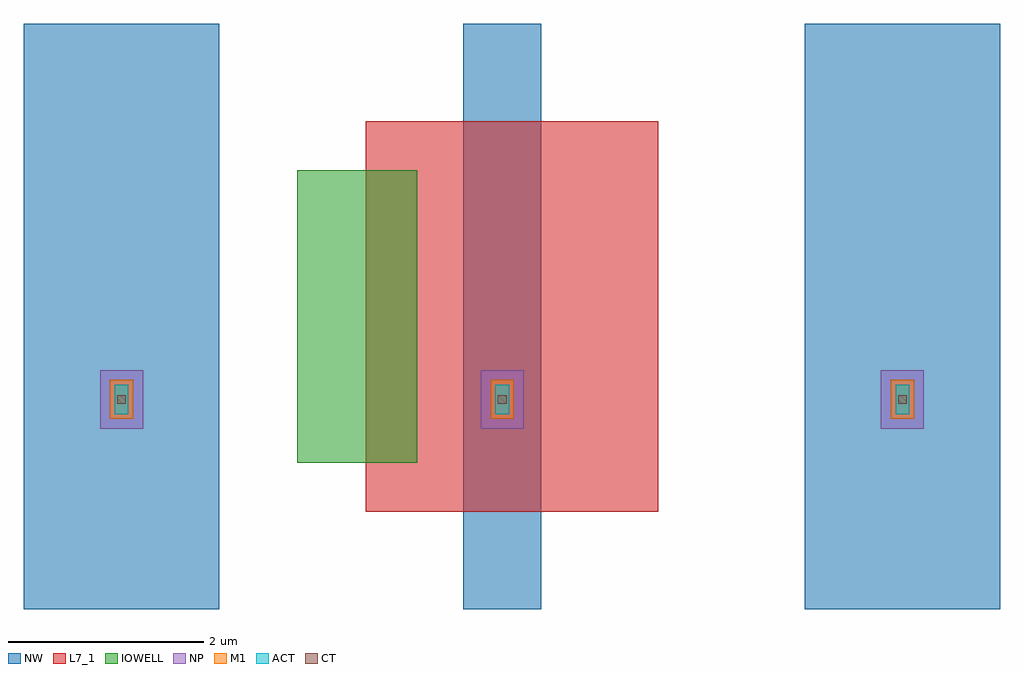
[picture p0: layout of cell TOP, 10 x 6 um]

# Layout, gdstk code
import gdstk
lib = gdstk.Library(unit=1e-6, precision=1e-09)
def R(c, l, rs):  # rectangles x0, y0, x1, y1
    for r in rs: c.add(gdstk.rectangle(r[:2], r[2:], *l))
ACT = (2, 1)
L7_1 = (7, 1)
NW = (9, 1)
IOWELL = (28, 1)
NP = (52, 1)
CT = (72, 1)
M1 = (81, 1)

top = lib.new_cell('TOP')
R(top, ACT, [(0.93,2,1.07,2.3), (4.83,2,4.97,2.3), (8.93,2,9.07,2.3)])
R(top, L7_1, [(3.5,1,6.5,5)])
R(top, NW, [(0,0,2,6), (4.5,0,5.3,6), (8,0,10,6)])
R(top, IOWELL, [(2.8,1.5,4.03,4.5)])
R(top, NP, [(0.78,1.85,1.22,2.45), (4.68,1.85,5.12,2.45), (8.78,1.85,9.22,2.45)])
R(top, CT, [(0.955,2.105,1.045,2.195), (4.855,2.105,4.945,2.195), (8.955,2.105,9.045,2.195)])
R(top, M1, [(0.88,1.95,1.12,2.35), (4.78,1.95,5.02,2.35), (8.88,1.95,9.12,2.35)])

lib.write_gds('TOP.gds')
